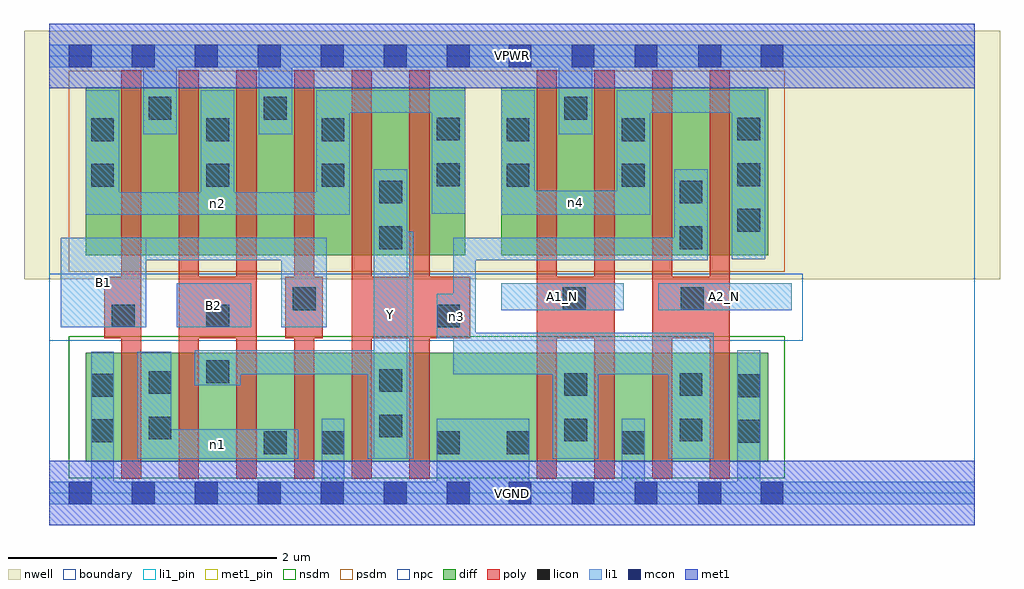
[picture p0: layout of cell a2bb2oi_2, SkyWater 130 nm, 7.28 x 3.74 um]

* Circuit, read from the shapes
.subckt a2bb2oi_2 A1_N A2_N B1 B2 VGND VPWR Y n1 n2 n3 n4
XM1 n1 B1 VGND VSUBS sky130_fd_pr__nfet_01v8 w=0.81 l=0.15 m=2
XM2 Y B2 n1 VSUBS sky130_fd_pr__nfet_01v8 w=0.81 l=0.15 m=2
XM3 Y n3 VGND VSUBS sky130_fd_pr__nfet_01v8 w=0.81 l=0.15 m=2
XM4 n3 A1_N VGND VSUBS sky130_fd_pr__nfet_01v8 w=0.81 l=0.15 m=2
XM5 n3 A2_N VGND VSUBS sky130_fd_pr__nfet_01v8 w=0.81 l=0.15 m=2
XM6 VPWR B1 n2 n5 sky130_fd_pr__pfet_01v8 w=1.25 l=0.15 m=2
XM7 n2 B2 VPWR n5 sky130_fd_pr__pfet_01v8 w=1.25 l=0.15 m=2
XM8 Y n3 n2 n5 sky130_fd_pr__pfet_01v8 w=1.25 l=0.15 m=2
XM9 VPWR A1_N n4 n5 sky130_fd_pr__pfet_01v8 w=1.25 l=0.15 m=2
XM10 n3 A2_N n4 n5 sky130_fd_pr__pfet_01v8 w=1.25 l=0.15 m=2
.ends

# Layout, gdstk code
import gdstk
lib = gdstk.Library(unit=1e-6, precision=1e-09)
def R(c, l, rs):  # rectangles x0, y0, x1, y1
    for r in rs: c.add(gdstk.rectangle(r[:2], r[2:], *l))
def A(c, l, x, y, w, h, nx, ny, dx, dy):  # array of equal rectangles
    R(c, l, [(x+i*dx, y+j*dy, x+i*dx+w, y+j*dy+h) for i in range(nx) for j in range(ny)])
nwell = (64, 20)
diff = (65, 20)
poly = (66, 20)
licon = (66, 44)
li1_pin = (67, 16)
li1 = (67, 20)
mcon = (67, 44)
met1_pin = (68, 16)
met1 = (68, 20)
nsdm = (93, 44)
psdm = (94, 20)
npc = (95, 20)
boundary = (235, 4)

a2bb2oi_2 = lib.new_cell('a2bb2oi_2')
R(a2bb2oi_2, nwell, [(-0.19,1.595,7.09,3.45), (0,1.595,6.9,3.45)])
R(a2bb2oi_2, diff, [(0.27,0.235,5.36,1.045), (0.27,1.775,3.1,3.025), (3.37,1.775,5.36,3.025)])
A(a2bb2oi_2, poly, 0.535, 0.105, 0.15, 3.05, 6, 1, 0.43, 0)
A(a2bb2oi_2, poly, 3.635, 0.105, 0.15, 3.05, 4, 1, 0.43, 0)
R(a2bb2oi_2, poly, [(0.41,1.155,0.685,1.615), (0.965,1.155,1.545,1.615), (1.76,1.155,2.04,1.615), (2.255,1.155,3.14,1.615), (3.635,1.155,4.215,1.615), (4.495,1.155,5.075,1.615)])
A(a2bb2oi_2, licon, 5.13, 1.95, 0.17, 0.17, 1, 3, 0, 0.34)
A(a2bb2oi_2, licon, 0.31, 2.285, 0.17, 0.17, 3, 2, 0.86, 0.34)
R(a2bb2oi_2, licon, [(1.6,0.29,1.77,0.46), (2.03,0.29,2.2,0.46), (2.89,0.29,3.06,0.46), (3.41,0.29,3.58,0.46), (4.27,0.29,4.44,0.46), (5.13,0.375,5.3,0.545), (0.31,0.38,0.48,0.55), (3.84,0.385,4.01,0.555), (4.7,0.385,4.87,0.555), (0.74,0.4,0.91,0.57), (2.46,0.415,2.63,0.585), (5.13,0.715,5.3,0.885), (0.31,0.72,0.48,0.89), (3.84,0.725,4.01,0.895), (4.7,0.725,4.87,0.895), (0.74,0.74,0.91,0.91), (2.46,0.755,2.63,0.925), (1.17,0.82,1.34,0.99), (0.465,1.235,0.635,1.405), (1.17,1.235,1.34,1.405), (2.89,1.235,3.06,1.405), (1.815,1.365,1.985,1.535), (3.83,1.365,4,1.535), (4.71,1.365,4.88,1.535), (2.46,1.82,2.63,1.99), (4.7,1.82,4.87,1.99), (2.46,2.16,2.63,2.33), (4.7,2.16,4.87,2.33), (3.41,2.285,3.58,2.455), (4.27,2.285,4.44,2.455), (2.89,2.29,3.06,2.46), (3.41,2.625,3.58,2.795), (4.27,2.625,4.44,2.795), (2.89,2.63,3.06,2.8), (0.74,2.785,0.91,2.955), (1.6,2.785,1.77,2.955), (3.84,2.785,4.01,2.955)])
R(a2bb2oi_2, li1_pin, [(2.42,0.255,2.67,2.415), (0.085,1.235,0.72,1.905), (0.95,1.235,1.505,1.565), (3.37,1.365,4.285,1.565), (4.54,1.365,5.535,1.565)])
A(a2bb2oi_2, li1, 0.27, 2.075, 0.25, 0.93, 3, 1, 0.86, 0)
R(a2bb2oi_2, li1, [(0,-0.085,6.9,0.085), (0.31,-0.085,0.48,1.055), (2.03,-0.085,2.2,0.555), (2.89,-0.085,3.58,0.555), (4.27,-0.085,4.44,0.555), (5.13,-0.085,5.3,1.065), (0.655,0.255,1.855,0.475), (0.655,0.255,0.91,1.055), (2.375,0.255,2.715,1.065), (2.42,0.255,2.67,2.415), (2.42,0.255,2.715,1.95), (3.755,0.255,4.095,1.195), (4.615,0.255,4.955,1.195), (1.085,0.805,1.425,1.065), (1.085,0.885,2.715,1.065), (3.01,0.885,4.955,1.195), (3.01,0.885,3.18,1.905), (2.89,1.155,3.18,1.485), (0.085,1.235,0.72,1.905), (0.95,1.235,1.505,1.565), (1.73,1.235,2.07,1.905), (3.37,1.365,4.285,1.565), (4.54,1.365,5.535,1.565), (0.085,1.735,2.07,1.905), (3.01,1.735,4.91,1.905), (4.66,1.735,4.91,2.415), (5.09,1.745,5.34,3.005), (0.27,2.075,2.24,2.245), (3.37,2.075,3.62,3.005), (3.37,2.075,4.48,2.255), (4.23,2.075,4.48,3.005), (2.85,2.085,3.1,3.005), (0.7,2.675,0.95,3.345), (1.56,2.675,1.81,3.345), (3.8,2.675,4.05,3.345), (1.99,2.835,3.1,3.005), (4.23,2.835,5.34,3.005), (0,3.175,6.9,3.345)])
A(a2bb2oi_2, mcon, 0.145, -0.085, 0.17, 0.17, 7, 2, 0.47, 3.26)
A(a2bb2oi_2, mcon, 3.425, -0.085, 0.17, 0.17, 3, 2, 0.47, 3.26)
R(a2bb2oi_2, mcon, [(4.84,-0.085,5.01,0.085), (5.305,-0.085,5.475,0.085), (4.84,3.175,5.01,3.345), (5.305,3.175,5.475,3.345)])
R(a2bb2oi_2, met1_pin, [(0,-0.24,6.9,0.24), (0,3.02,6.9,3.5)])
R(a2bb2oi_2, met1, [(0,-0.24,6.9,0.24), (0,3.02,6.9,3.5)])
R(a2bb2oi_2, nsdm, [(0.145,0.11,5.485,1.17)])
R(a2bb2oi_2, psdm, [(0.145,1.65,5.485,3.15)])
R(a2bb2oi_2, npc, [(0,1.135,5.62,1.635)])
R(a2bb2oi_2, boundary, [(0,0,6.9,3.26)])
a2bb2oi_2.add(gdstk.Label('A1_N', (3.827,1.465), layer=67, texttype=5))
a2bb2oi_2.add(gdstk.Label('A2_N', (5.037,1.465), layer=67, texttype=5))
a2bb2oi_2.add(gdstk.Label('B1', (0.402,1.57), layer=67, texttype=5))
a2bb2oi_2.add(gdstk.Label('B2', (1.227,1.4), layer=67, texttype=5))
a2bb2oi_2.add(gdstk.Label('Y', (2.545,1.335), layer=67, texttype=5))
a2bb2oi_2.add(gdstk.Label('n1', (1.255,0.365), layer=67, texttype=5))
a2bb2oi_2.add(gdstk.Label('n3', (3.035,1.32), layer=67, texttype=5))
a2bb2oi_2.add(gdstk.Label('n2', (1.255,2.16), layer=67, texttype=5))
a2bb2oi_2.add(gdstk.Label('n4', (3.925,2.165), layer=67, texttype=5))
a2bb2oi_2.add(gdstk.Label('VPWR', (3.45,3.26), layer=68, texttype=5))
a2bb2oi_2.add(gdstk.Label('VGND', (3.45,0), layer=68, texttype=5))
a2bb2oi_2.add(gdstk.Label('A1_N', (3.827,1.465), layer=67, texttype=16))
a2bb2oi_2.add(gdstk.Label('A2_N', (5.037,1.465), layer=67, texttype=16))
a2bb2oi_2.add(gdstk.Label('B1', (0.402,1.57), layer=67, texttype=16))
a2bb2oi_2.add(gdstk.Label('B2', (1.227,1.4), layer=67, texttype=16))
a2bb2oi_2.add(gdstk.Label('Y', (2.545,1.335), layer=67, texttype=16))
a2bb2oi_2.add(gdstk.Label('VPWR', (3.45,3.26), layer=68, texttype=16))
a2bb2oi_2.add(gdstk.Label('VGND', (3.45,0), layer=68, texttype=16))

lib.write_gds('a2bb2oi_2.gds')
